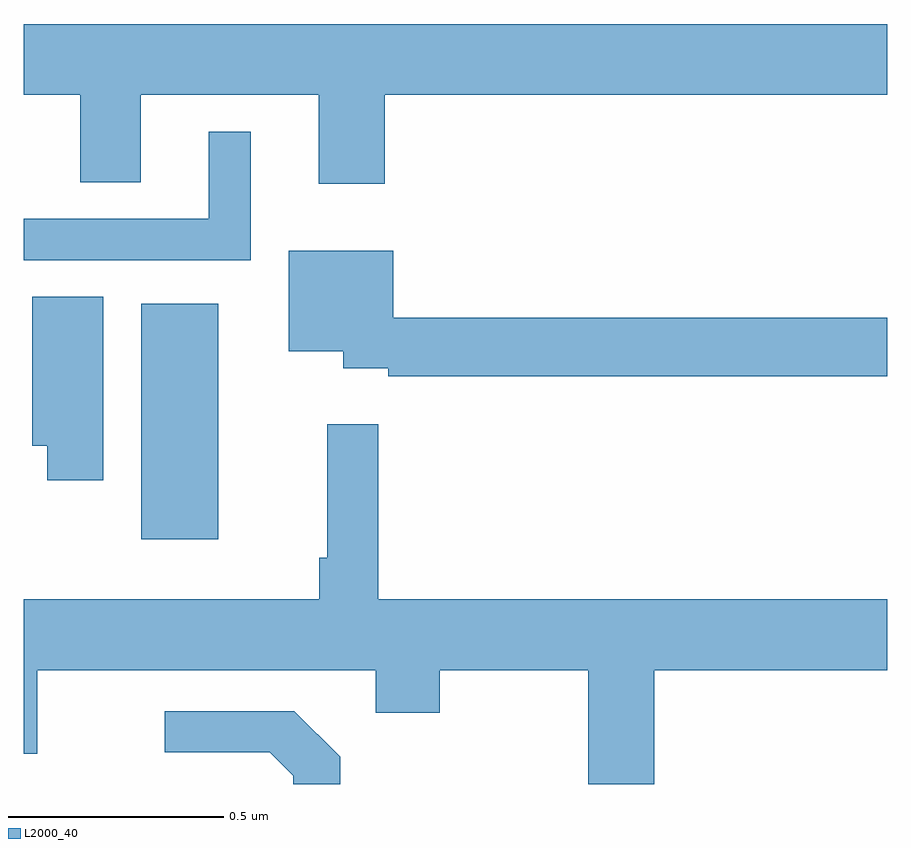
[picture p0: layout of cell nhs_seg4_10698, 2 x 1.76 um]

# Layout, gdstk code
import gdstk
lib = gdstk.Library(unit=1e-6, precision=1e-09)
def R(c, l, rs):  # rectangles x0, y0, x1, y1
    for r in rs: c.add(gdstk.rectangle(r[:2], r[2:], *l))
def P(c, l, *ps):  # polygons
    for p in ps: c.add(gdstk.Polygon(p, *l))
L2000_40 = (2000, 40)

nhs_seg4_10698 = lib.new_cell('nhs_seg4_10698')
R(nhs_seg4_10698, L2000_40, [(243.272,786.467,243.451,787.012)])
P(nhs_seg4_10698, L2000_40, [(243.836,787.496),(245,787.496),(245,787.66),(243,787.66),(243,787.496),(243.131,787.496),(243.131,787.294),(243.271,787.294),(243.271,787.496),(243.683,787.496),(243.683,787.29),(243.836,787.29)],
  [(243.526,787.411),(243.428,787.411),(243.428,787.209),(243,787.209),(243,787.113),(243.526,787.113)],
  [(245,786.98),(243.856,786.98),(243.856,787.135),(243.614,787.135),(243.614,786.902),(243.74,786.902),(243.74,786.863),(243.844,786.863),(243.844,786.844),(245,786.844)],
  [(243.184,787.028),(243.02,787.028),(243.02,786.683),(243.055,786.683),(243.055,786.603),(243.184,786.603)],
  [(244.46,786.164),(245,786.164),(245,786.328),(243.821,786.328),(243.821,786.733),(243.703,786.733),(243.703,786.424),(243.685,786.424),(243.685,786.328),(243,786.328),(243,785.97),(243.031,785.97),(243.031,786.164),(243.815,786.164),(243.815,786.065),(243.963,786.065),(243.963,786.164),(244.307,786.164),(244.307,785.9),(244.46,785.9)],
  [(243.733,785.963),(243.627,786.069),(243.327,786.069),(243.327,785.973),(243.57,785.973),(243.624,785.919),(243.624,785.9),(243.733,785.9)])

lib.write_gds('nhs_seg4_10698.gds')
